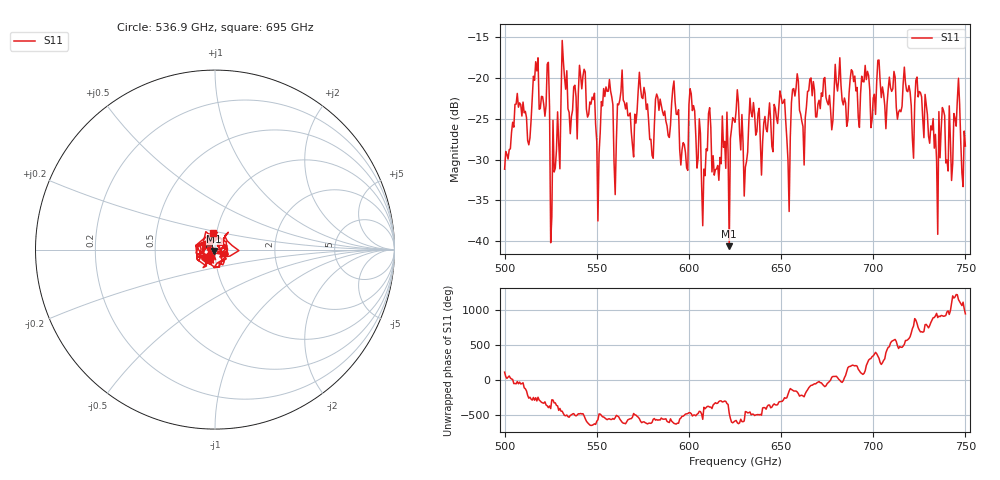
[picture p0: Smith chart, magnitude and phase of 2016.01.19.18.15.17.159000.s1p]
!Created with skrf (http://scikit-rf.org).
# GHz S RI R 50.0
!freq ReS11 ImS11
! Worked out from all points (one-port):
!   401 points, 500 GHz to 750 GHz, reference 50 ohm
!   lowest |S11| = -40.6 dB at 621.9 GHz (marker M1), VSWR 1.02, Z = 49.6 - j0.822 ohm
!   |S11| at or under -10 dB: start of sweep to end of sweep
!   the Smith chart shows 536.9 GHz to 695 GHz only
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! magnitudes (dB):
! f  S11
! 500 GHz  -31.2
! 506.9 GHz  -21.9
! 513.1 GHz  -28.2
! 516.9 GHz  -18.0
! 523.1 GHz  -18.3
! 526.2 GHz  -25.2
! 531.2 GHz  -15.4
! 542.5 GHz  -19.8
! 550.6 GHz  -37.5
! 553.8 GHz  -21.3
! 560.6 GHz  -27.8
! 562.5 GHz  -22.7
! 593.8 GHz  -24.5
! 598.1 GHz  -29.1
! 601.9 GHz  -24.0
! 608.1 GHz  -31.2
! 610.6 GHz  -24.3
! 621.9 GHz  -40.6
! 625 GHz  -25.4
! 630.6 GHz  -30.9
! 634.4 GHz  -24.8
! 650.6 GHz  -23.1
! 653.8 GHz  -30.1
! 656.2 GHz  -21.4
! 687.5 GHz  -20.1
! 718.8 GHz  -21.7
! 733.8 GHz  -26.9
! 750 GHz  -28.3
